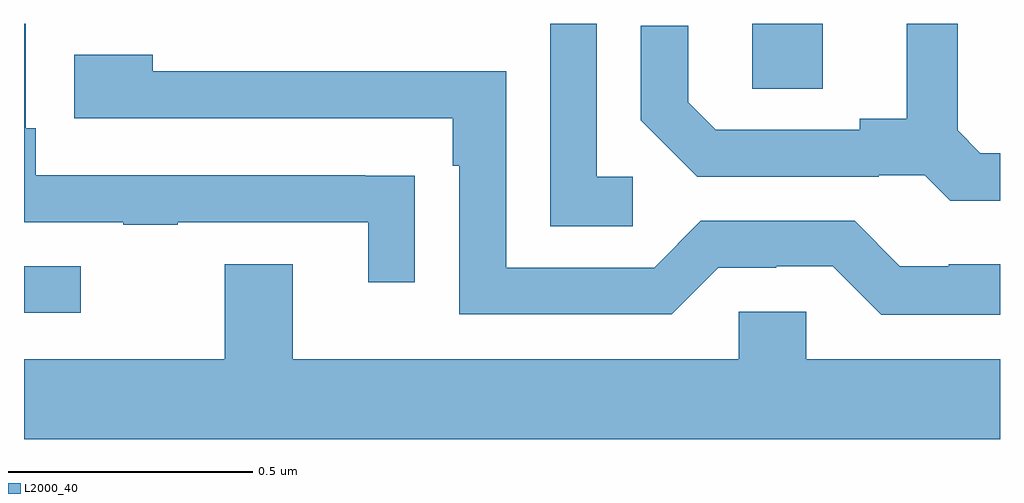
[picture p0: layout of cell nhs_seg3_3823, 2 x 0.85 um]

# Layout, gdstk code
import gdstk
lib = gdstk.Library(unit=1e-6, precision=1e-09)
def R(c, l, rs):  # rectangles x0, y0, x1, y1
    for r in rs: c.add(gdstk.rectangle(r[:2], r[2:], *l))
def P(c, l, *ps):  # polygons
    for p in ps: c.add(gdstk.Polygon(p, *l))
L2000_40 = (2000, 40)

nhs_seg3_3823 = lib.new_cell('nhs_seg3_3823')
R(nhs_seg3_3823, L2000_40, [(158,735.807,158.116,735.903), (159.492,736.267,159.637,736.4)])
P(nhs_seg3_3823, L2000_40, [(160,736.134),(159.96,736.134),(159.913,736.181),(159.913,736.4),(159.809,736.4),(159.809,736.205),(159.713,736.205),(159.713,736.182),(159.418,736.182),(159.361,736.239),(159.361,736.396),(159.264,736.396),(159.264,736.202),(159.38,736.086),(159.752,736.086),(159.752,736.089),(159.846,736.089),(159.898,736.037),(160,736.037)],
  [(158.801,736.088),(158.699,736.088),(158.699,736.089),(158.024,736.089),(158.024,736.186),(158.004,736.186),(158.004,736.4),(158,736.4),(158,735.993),(158.203,735.993),(158.203,735.988),(158.315,735.988),(158.315,735.993),(158.705,735.993),(158.705,735.87),(158.801,735.87)],
  [(159.247,736.086),(159.174,736.086),(159.174,736.4),(159.078,736.4),(159.078,735.985),(159.247,735.985)],
  [(160,735.907),(159.895,735.907),(159.895,735.903),(159.795,735.903),(159.702,735.996),(159.387,735.996),(159.291,735.9),(158.988,735.9),(158.988,736.302),(158.264,736.302),(158.264,736.336),(158.103,736.336),(158.103,736.206),(158.879,736.206),(158.879,736.109),(158.892,736.109),(158.892,735.804),(159.327,735.804),(159.423,735.9),(159.542,735.9),(159.542,735.903),(159.657,735.903),(159.757,735.803),(160,735.803)],
  [(160,735.712),(159.603,735.712),(159.603,735.81),(159.465,735.81),(159.465,735.712),(158.551,735.712),(158.551,735.907),(158.411,735.907),(158.411,735.712),(158,735.712),(158,735.548),(160,735.548)])

lib.write_gds('nhs_seg3_3823.gds')
